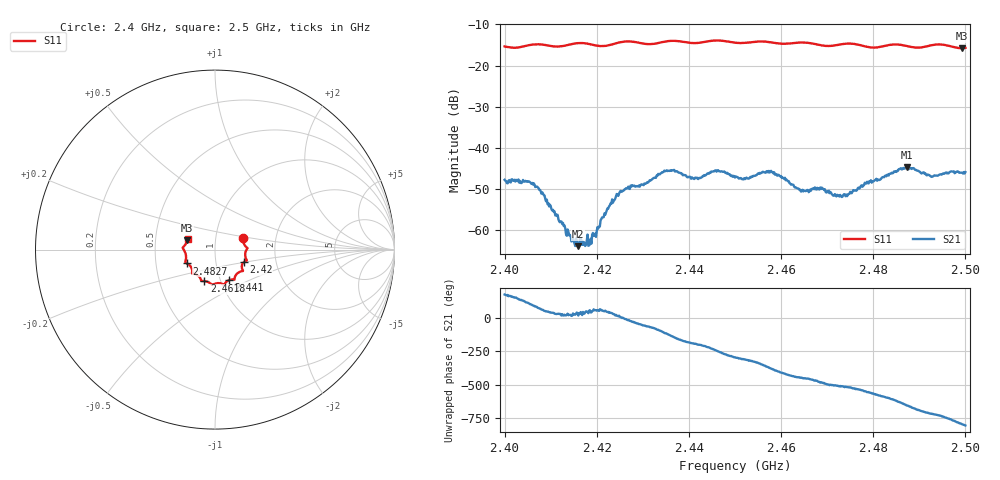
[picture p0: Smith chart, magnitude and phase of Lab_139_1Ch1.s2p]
# Hz S RI R 50
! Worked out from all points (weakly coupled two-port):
!   601 points, 2.4 GHz to 2.5 GHz, reference 50 ohm
!   highest |S21| = -44.77 dB at 2.4873 GHz (marker M1); lowest = -63.9 dB at 2.4158 GHz (marker M2)
!   lowest |S11| = -15.8 dB at 2.4993 GHz (marker M3), VSWR 1.39, Z = 36.5 + j3.82 ohm
!   |S11| at or under -10 dB: start of sweep to end of sweep
!   S12 and S22 are empty: the file has one direction only
!   S11 on the Smith chart (normalised r, x): 2.4 GHz: 1.36, +0.18; 2.42 GHz: 1.36, -0.20; 2.441 GHz: 1.10, -0.39; 2.4618 GHz: 0.84, -0.30; 2.4827 GHz: 0.72, -0.11; 2.5 GHz: 0.73, +0.09
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2.4e9  0.1584 0.063  -0.00407 0.000404  0 0  0 0
2.406833e9  0.1809 0.00911  0.000414 0.00334  0 0  0 0
2.415833e9  0.1773 -0.0591  0.000543 0.000337  0 0  0 0
2.416667e9  0.1773 -0.0608  0.000573 0.000341  0 0  0 0
2.418e9  0.173 -0.0629  0.000624 0.000626  0 0  0 0
2.42e9  0.1597 -0.0703  0.000584 0.000786  0 0  0 0
2.424667e9  0.1531 -0.1112  0.00255 0.000546  0 0  0 0
2.433333e9  0.1115 -0.1507  4.78e-05 -0.00483  0 0  0 0
2.436333e9  0.1088 -0.1673  -0.00398 -0.00356  0 0  0 0
2.441e9  0.0787 -0.1697  -0.00415 0.000828  0 0  0 0
2.445833e9  0.0501 -0.195  -0.0023 0.00481  0 0  0 0
2.45e9  0.0285 -0.1874  0.0019 0.00392  0 0  0 0
2.457333e9  -0.0214 -0.1917  0.00514 -0.00102  0 0  0 0
2.461833e9  -0.0591 -0.1754  0.00127 -0.0035  0 0  0 0
2.466667e9  -0.0788 -0.1683  -0.00067 -0.0031  0 0  0 0
2.4735e9  -0.1233 -0.1347  -0.00241 -0.00116  0 0  0 0
2.482667e9  -0.1559 -0.0771  -0.00272 0.00372  0 0  0 0
2.483333e9  -0.1603 -0.0751  -0.00225 0.00401  0 0  0 0
2.487333e9  -0.1627 -0.0568  0.00253 0.00519  0 0  0 0
2.492667e9  -0.1763 0.00301  0.00443 0.000268  0 0  0 0
2.499333e9  -0.1542 0.051  0.00109 -0.00487  0 0  0 0
2.5e9  -0.1522 0.0606  0.000401 -0.00506  0 0  0 0
